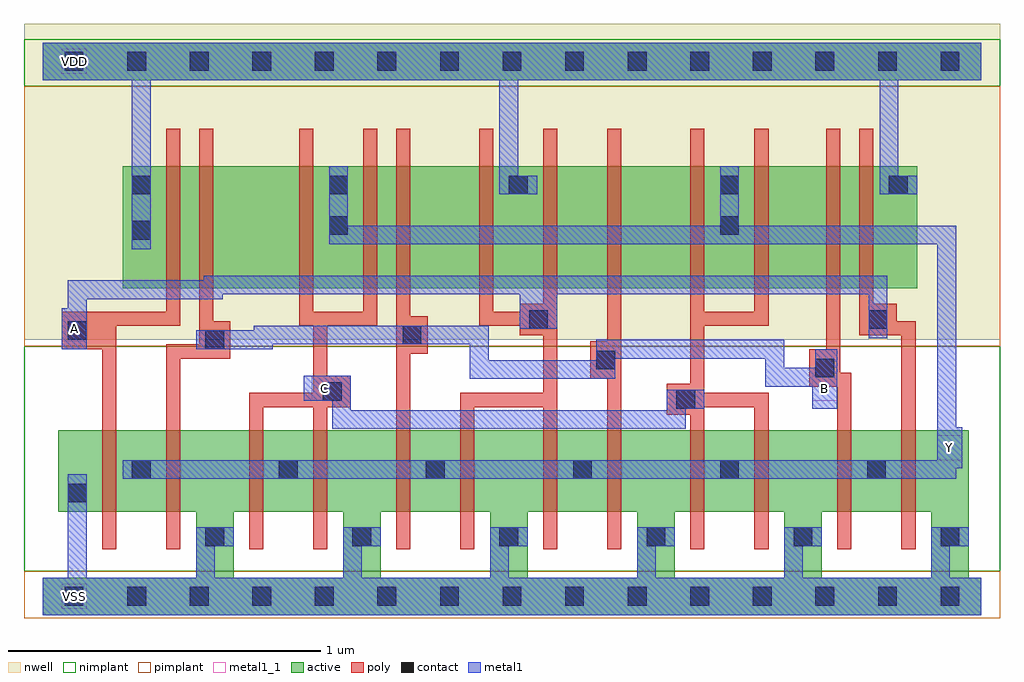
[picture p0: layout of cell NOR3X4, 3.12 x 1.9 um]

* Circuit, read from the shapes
.subckt NOR3X4 A B C VDD VSS Y
M1 Y A VSS VSS nfet w=0.26u l=0.045u m=4
M2 VSS B Y VSS nfet w=0.26u l=0.045u m=4
M3 Y C VSS VSS nfet w=0.26u l=0.045u m=4
M4 n1 A VDD VDD pfet w=0.39u l=0.045u
M5 n2 B n1 VDD pfet w=0.39u l=0.045u
M6 Y C n2 VDD pfet w=0.39u l=0.045u
M7 n3 C Y VDD pfet w=0.39u l=0.045u
M8 n4 B n3 VDD pfet w=0.39u l=0.045u
M9 VDD A n4 VDD pfet w=0.39u l=0.045u
M10 n5 A VDD VDD pfet w=0.39u l=0.045u
M11 n6 B n5 VDD pfet w=0.39u l=0.045u
M12 Y C n6 VDD pfet w=0.39u l=0.045u
M13 n7 C Y VDD pfet w=0.39u l=0.045u
M14 n8 B n7 VDD pfet w=0.39u l=0.045u
M15 VDD A n8 VDD pfet w=0.39u l=0.045u
.ends

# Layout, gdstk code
import gdstk
lib = gdstk.Library(unit=1e-6, precision=5e-10)
def R(c, l, rs):  # rectangles x0, y0, x1, y1
    for r in rs: c.add(gdstk.rectangle(r[:2], r[2:], *l))
def A(c, l, x, y, w, h, nx, ny, dx, dy):  # array of equal rectangles
    R(c, l, [(x+i*dx, y+j*dy, x+i*dx+w, y+j*dy+h) for i in range(nx) for j in range(ny)])
def P(c, l, *ps):  # polygons
    for p in ps: c.add(gdstk.Polygon(p, *l))
active = (1, 0)
nwell = (2, 0)
poly = (3, 0)
nimplant = (4, 0)
pimplant = (5, 0)
contact = (6, 0)
metal1 = (7, 0)
metal1_1 = (7, 1)

nor3x4 = lib.new_cell('NOR3X4')
R(nor3x4, active, [(0.255,0.985,2.795,1.375), (0,1.65,3,1.77)])
P(nor3x4, active, [(0.05,0.53),(2.96,0.53),(2.96,0.06),(3,0.06),(3,-0.06),(0,-0.06),(0,0.06),(0.49,0.06),(0.49,0.27),(0.61,0.27),(0.61,0.06),(0.96,0.06),(0.96,0.27),(1.08,0.27),(1.08,0.06),(1.43,0.06),(1.43,0.27),(1.55,0.27),(1.55,0.06),(1.9,0.06),(1.9,0.27),(2.02,0.27),(2.02,0.06),(2.37,0.06),(2.37,0.27),(2.49,0.27),(2.49,0.06),(2.84,0.06),(2.84,0.27),(0.05,0.27)])
R(nor3x4, nwell, [(-0.06,0.82,3.06,1.83)])
P(nor3x4, poly, [(0.395,1.495),(0.44,1.495),(0.44,0.865),(0.235,0.865),(0.235,0.15),(0.19,0.15),(0.19,0.79),(0.06,0.79),(0.06,0.91),(0.395,0.91)],
  [(0.5,1.495),(0.545,1.495),(0.545,0.88),(0.6,0.88),(0.6,0.76),(0.44,0.76),(0.44,0.15),(0.395,0.15),(0.395,0.805),(0.5,0.805)],
  [(0.82,1.495),(0.865,1.495),(0.865,0.91),(1.025,0.91),(1.025,1.495),(1.07,1.495),(1.07,0.865),(0.91,0.865),(0.91,0.705),(0.985,0.705),(0.985,0.605),(0.91,0.605),(0.91,0.15),(0.865,0.15),(0.865,0.605),(0.705,0.605),(0.705,0.15),(0.66,0.15),(0.66,0.65),(0.865,0.65),(0.865,0.865),(0.82,0.865)],
  [(1.13,1.495),(1.175,1.495),(1.175,0.895),(1.23,0.895),(1.23,0.775),(1.175,0.775),(1.175,0.15),(1.13,0.15)],
  [(1.395,1.495),(1.44,1.495),(1.44,0.91),(1.525,0.91),(1.525,0.935),(1.6,0.935),(1.6,1.495),(1.645,1.495),(1.645,0.15),(1.6,0.15),(1.6,0.605),(1.38,0.605),(1.38,0.15),(1.335,0.15),(1.335,0.65),(1.6,0.65),(1.6,0.835),(1.525,0.835),(1.525,0.865),(1.395,0.865)],
  [(1.805,1.495),(1.85,1.495),(1.85,0.15),(1.805,0.15),(1.805,0.695),(1.75,0.695),(1.75,0.815),(1.805,0.815)],
  [(2.07,1.495),(2.115,1.495),(2.115,0.91),(2.275,0.91),(2.275,1.495),(2.32,1.495),(2.32,0.865),(2.115,0.865),(2.115,0.65),(2.32,0.65),(2.32,0.15),(2.275,0.15),(2.275,0.605),(2.115,0.605),(2.115,0.15),(2.07,0.15),(2.07,0.58),(1.995,0.58),(1.995,0.68),(2.07,0.68)],
  [(2.505,1.495),(2.55,1.495),(2.55,0.715),(2.585,0.715),(2.585,0.15),(2.54,0.15),(2.54,0.67),(2.45,0.67),(2.45,0.79),(2.505,0.79)],
  [(2.61,1.495),(2.655,1.495),(2.655,0.935),(2.73,0.935),(2.73,0.88),(2.79,0.88),(2.79,0.15),(2.745,0.15),(2.745,0.835),(2.61,0.835)])
R(nor3x4, nimplant, [(-0.06,0.08,3.06,0.8), (-0.06,1.63,3.06,1.78)])
R(nor3x4, pimplant, [(-0.06,-0.07,3.06,0.08), (-0.06,0.8,3.06,1.63)])
A(nor3x4, contact, 0.07, -0.03, 0.06, 0.06, 15, 2, 0.2, 1.71)
A(nor3x4, contact, 0.52, 0.16, 0.06, 0.06, 6, 1, 0.47, 0)
A(nor3x4, contact, 0.285, 0.375, 0.06, 0.06, 6, 1, 0.47, 0)
R(nor3x4, contact, [(0.08,0.3,0.14,0.36), (2.025,0.6,2.085,0.66), (0.895,0.625,0.955,0.685), (2.47,0.7,2.53,0.76), (1.77,0.725,1.83,0.785), (0.52,0.79,0.58,0.85), (1.15,0.805,1.21,0.865), (0.08,0.82,0.14,0.88), (1.555,0.855,1.615,0.915), (2.64,0.855,2.7,0.915), (0.285,1.14,0.345,1.2), (0.915,1.155,0.975,1.215), (2.165,1.155,2.225,1.215), (0.285,1.285,0.345,1.345), (0.915,1.285,0.975,1.345), (1.49,1.285,1.55,1.345), (2.165,1.285,2.225,1.345), (2.705,1.285,2.765,1.345)])
P(nor3x4, metal1, [(0,1.77),(3,1.77),(3,1.65),(2.735,1.65),(2.735,1.345),(2.795,1.345),(2.795,1.285),(2.675,1.285),(2.675,1.65),(1.52,1.65),(1.52,1.345),(1.58,1.345),(1.58,1.285),(1.46,1.285),(1.46,1.65),(0.345,1.65),(0.345,1.11),(0.285,1.11),(0.285,1.65),(0,1.65)],
  [(0.915,1.375),(0.975,1.375),(0.975,1.185),(2.165,1.185),(2.165,1.375),(2.225,1.375),(2.225,1.185),(2.92,1.185),(2.92,0.54),(2.94,0.54),(2.94,0.41),(2.92,0.41),(2.92,0.375),(0.255,0.375),(0.255,0.435),(2.86,0.435),(2.86,1.125),(0.915,1.125)],
  [(0.515,1.025),(2.7,1.025),(2.7,0.825),(2.64,0.825),(2.64,0.965),(1.645,0.965),(1.645,0.855),(1.525,0.855),(1.525,0.965),(0.575,0.965),(0.575,0.95),(0.14,0.95),(0.14,0.79),(0.06,0.79),(0.06,0.92),(0.08,0.92),(0.08,1.01),(0.515,1.01)],
  [(0.675,0.865),(1.425,0.865),(1.425,0.755),(1.77,0.755),(1.77,0.82),(2.37,0.82),(2.37,0.73),(2.47,0.73),(2.47,0.79),(2.54,0.79),(2.54,0.6),(2.46,0.6),(2.46,0.67),(2.31,0.67),(2.31,0.76),(1.83,0.76),(1.83,0.695),(1.365,0.695),(1.365,0.805),(0.735,0.805),(0.735,0.79),(0.49,0.79),(0.49,0.85),(0.675,0.85)],
  [(0.835,0.705),(0.985,0.705),(0.985,0.595),(1.995,0.595),(1.995,0.66),(2.115,0.66),(2.115,0.6),(2.055,0.6),(2.055,0.535),(0.925,0.535),(0.925,0.625),(0.835,0.625)],
  [(0.08,0.39),(0.14,0.39),(0.14,0.06),(0.49,0.06),(0.49,0.22),(0.61,0.22),(0.61,0.16),(0.55,0.16),(0.55,0.06),(0.96,0.06),(0.96,0.22),(1.08,0.22),(1.08,0.16),(1.02,0.16),(1.02,0.06),(1.43,0.06),(1.43,0.22),(1.55,0.22),(1.55,0.16),(1.49,0.16),(1.49,0.06),(1.9,0.06),(1.9,0.22),(2.02,0.22),(2.02,0.16),(1.96,0.16),(1.96,0.06),(2.37,0.06),(2.37,0.22),(2.49,0.22),(2.49,0.16),(2.43,0.16),(2.43,0.06),(2.84,0.06),(2.84,0.22),(2.96,0.22),(2.96,0.16),(2.9,0.16),(2.9,0.06),(3,0.06),(3,-0.06),(0,-0.06),(0,0.06),(0.08,0.06)])
A(nor3x4, metal1_1, 0.06, -0.04, 0.08, 0.08, 1, 3, 0, 0.855)
R(nor3x4, metal1_1, [(2.86,0.435,2.94,0.515), (0.86,0.625,0.94,0.705), (2.46,0.625,2.54,0.705)])
nor3x4.add(gdstk.Label('Y', (2.9,0.475), layer=7, texttype=1))
nor3x4.add(gdstk.Label('A', (0.1,0.855), layer=7, texttype=1))
nor3x4.add(gdstk.Label('B', (2.5,0.665), layer=7, texttype=1))
nor3x4.add(gdstk.Label('C', (0.9,0.665), layer=7, texttype=1))
nor3x4.add(gdstk.Label('VDD', (0.1,1.71), layer=7, texttype=1))
nor3x4.add(gdstk.Label('VSS', (0.1,0), layer=7, texttype=1))
nor3x4.add(gdstk.Label('NOR3X4', (0,0), layer=63, texttype=0))

lib.write_gds('NOR3X4.gds')
